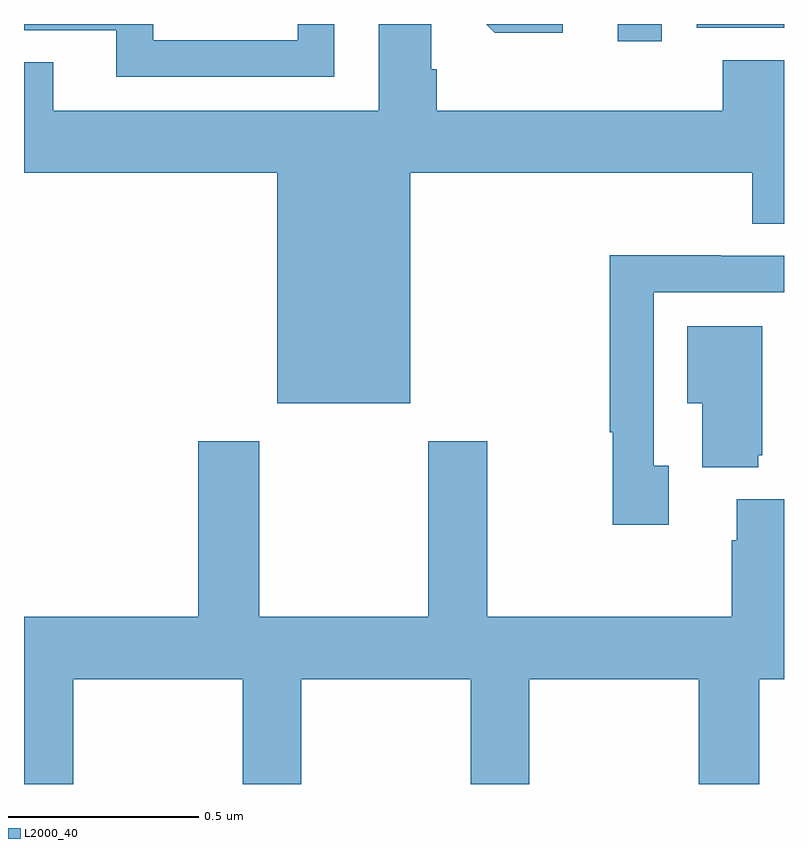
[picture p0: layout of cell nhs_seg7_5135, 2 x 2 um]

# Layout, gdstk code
import gdstk
lib = gdstk.Library(unit=1e-6, precision=1e-09)
def R(c, l, rs):  # rectangles x0, y0, x1, y1
    for r in rs: c.add(gdstk.rectangle(r[:2], r[2:], *l))
def P(c, l, *ps):  # polygons
    for p in ps: c.add(gdstk.Polygon(p, *l))
L2000_40 = (2000, 40)

nhs_seg7_5135 = lib.new_cell('nhs_seg7_5135')
R(nhs_seg7_5135, L2000_40, [(183.563,1008.954,183.678,1009), (183.771,1008.99,184,1009)])
P(nhs_seg7_5135, L2000_40, [(183.418,1009),(183.216,1009),(183.239,1008.977),(183.418,1008.977)],
  [(182.817,1009),(182.721,1009),(182.721,1008.957),(182.34,1008.957),(182.34,1009),(182,1009),(182,1008.984),(182.243,1008.984),(182.243,1008.861),(182.817,1008.861)],
  [(183.016,1008.608),(183.917,1008.608),(183.917,1008.475),(184,1008.475),(184,1008.905),(183.839,1008.905),(183.839,1008.772),(183.086,1008.772),(183.086,1008.881),(183.072,1008.881),(183.072,1009),(182.933,1009),(182.933,1008.772),(182.077,1008.772),(182.077,1008.899),(182,1008.899),(182,1008.608),(182.666,1008.608),(182.666,1008.002),(183.016,1008.002)],
  [(183.697,1007.838),(183.657,1007.838),(183.657,1008.294),(184,1008.294),(184,1008.39),(183.833,1008.39),(183.833,1008.392),(183.541,1008.392),(183.541,1007.926),(183.549,1007.926),(183.549,1007.682),(183.697,1007.682)],
  [(183.932,1007.865),(183.943,1007.865),(183.943,1008.205),(183.746,1008.205),(183.746,1008.002),(183.785,1008.002),(183.785,1007.834),(183.932,1007.834)],
  [(182.13,1007.276),(182.575,1007.276),(182.575,1007),(182.73,1007),(182.73,1007.276),(183.175,1007.276),(183.175,1007),(183.33,1007),(183.33,1007.276),(183.775,1007.276),(183.775,1007),(183.935,1007),(183.935,1007.276),(184,1007.276),(184,1007.749),(183.875,1007.749),(183.875,1007.642),(183.863,1007.642),(183.863,1007.44),(183.219,1007.44),(183.219,1007.902),(183.064,1007.902),(183.064,1007.44),(182.619,1007.44),(182.619,1007.902),(182.459,1007.902),(182.459,1007.44),(182,1007.44),(182,1007),(182.13,1007)])

lib.write_gds('nhs_seg7_5135.gds')
